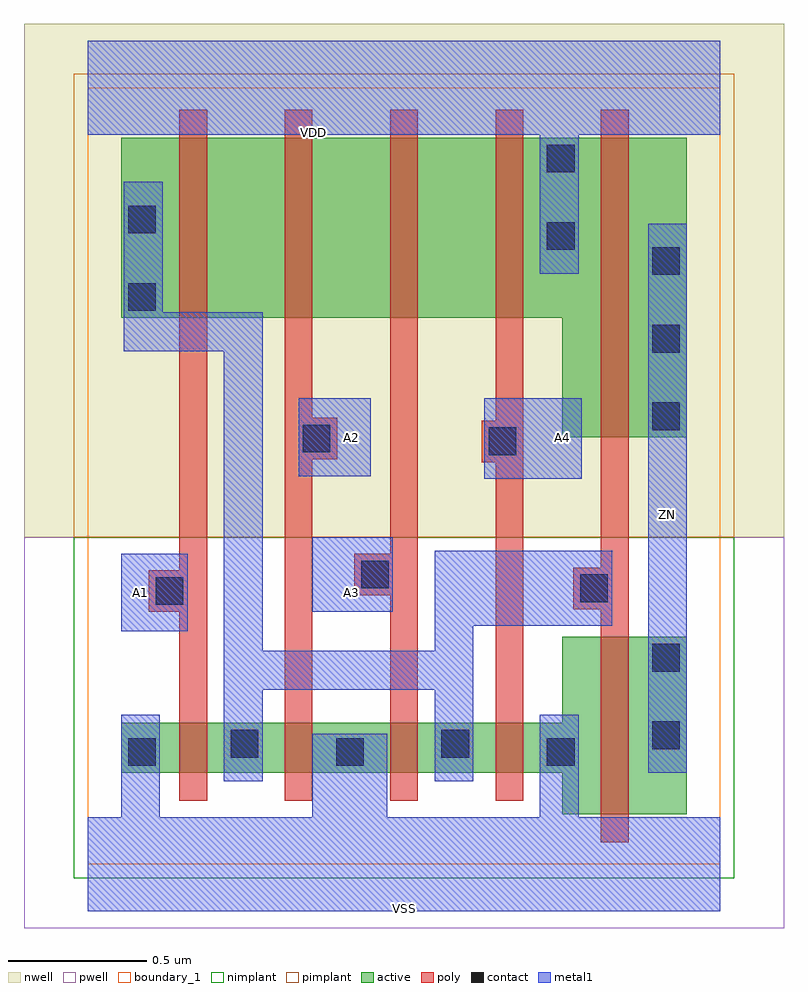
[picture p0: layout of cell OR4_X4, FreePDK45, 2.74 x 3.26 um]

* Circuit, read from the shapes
.subckt OR4_X4 A1 A2 A3 A4 VDD VSS ZN
M1 n1 A1 VSS VSUBS nfet w=0.18u l=0.1u
M2 VSS A2 n1 VSUBS nfet w=0.18u l=0.1u
M3 n1 A3 VSS VSUBS nfet w=0.18u l=0.1u
M4 VSS A4 n1 VSUBS nfet w=0.18u l=0.1u
M5 ZN n1 VSS VSUBS nfet w=0.64u l=0.1u
M6 n2 A1 n1 n3 pfet w=0.65u l=0.1u
M7 n4 A2 n2 n3 pfet w=0.65u l=0.1u
M8 n5 A3 n4 n3 pfet w=0.65u l=0.1u
M9 VDD A4 n5 n3 pfet w=0.65u l=0.1u
M10 ZN n1 VDD n3 pfet w=1.08u l=0.1u
.ends

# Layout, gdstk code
import gdstk
lib = gdstk.Library(unit=1e-6, precision=1e-09)
def R(c, l, rs):  # rectangles x0, y0, x1, y1
    for r in rs: c.add(gdstk.rectangle(r[:2], r[2:], *l))
def A(c, l, x, y, w, h, nx, ny, dx, dy):  # array of equal rectangles
    R(c, l, [(x+i*dx, y+j*dy, x+i*dx+w, y+j*dy+h) for i in range(nx) for j in range(ny)])
def P(c, l, *ps):  # polygons
    for p in ps: c.add(gdstk.Polygon(p, *l))
active = (1, 0)
pwell = (2, 0)
nwell = (3, 0)
nimplant = (4, 0)
pimplant = (5, 0)
poly = (9, 0)
contact = (10, 0)
metal1 = (11, 0)
boundary_1 = (235, 1)

or4_x4 = lib.new_cell('OR4_X4')
P(or4_x4, active, [(0.12,1.97),(1.71,1.97),(1.71,1.54),(2.16,1.54),(2.16,2.62),(0.12,2.62)],
  [(0.12,0.33),(1.71,0.33),(1.71,0.18),(2.16,0.18),(2.16,0.82),(1.71,0.82),(1.71,0.51),(0.12,0.51)])
R(or4_x4, pwell, [(-0.23,-0.23,2.51,1.18)])
R(or4_x4, nwell, [(-0.23,1.18,2.51,3.03)])
R(or4_x4, nimplant, [(-0.05,-0.05,2.33,1.18)])
R(or4_x4, pimplant, [(-0.05,1.18,2.33,2.85)])
P(or4_x4, poly, [(1.75,0.92),(1.85,0.92),(1.85,0.08),(1.95,0.08),(1.95,2.72),(1.85,2.72),(1.85,1.07),(1.75,1.07)],
  [(1.42,1.45),(1.47,1.45),(1.47,0.23),(1.57,0.23),(1.57,2.72),(1.47,2.72),(1.47,1.6),(1.42,1.6)],
  [(0.96,0.97),(1.09,0.97),(1.09,0.23),(1.19,0.23),(1.19,2.72),(1.09,2.72),(1.09,1.12),(0.96,1.12)],
  [(0.71,0.23),(0.81,0.23),(0.81,1.46),(0.9,1.46),(0.9,1.61),(0.81,1.61),(0.81,2.72),(0.71,2.72)],
  [(0.22,0.91),(0.33,0.91),(0.33,0.23),(0.43,0.23),(0.43,2.72),(0.33,2.72),(0.33,1.06),(0.22,1.06)])
A(or4_x4, contact, 2.035, 1.565, 0.1, 0.1, 1, 3, 0, 0.28)
R(or4_x4, contact, [(0.145,0.355,0.245,0.455), (0.895,0.355,0.995,0.455), (1.655,0.355,1.755,0.455), (0.515,0.385,0.615,0.485), (1.275,0.385,1.375,0.485), (2.035,0.415,2.135,0.515), (2.035,0.695,2.135,0.795), (0.245,0.935,0.345,1.035), (1.775,0.945,1.875,1.045), (0.985,0.995,1.085,1.095), (1.445,1.475,1.545,1.575), (0.775,1.485,0.875,1.585), (0.145,1.995,0.245,2.095), (1.655,2.215,1.755,2.315), (0.145,2.275,0.245,2.375), (1.655,2.495,1.755,2.595)])
R(or4_x4, metal1, [(2.02,0.33,2.16,2.31), (2.02,0.33,2.16,2.31), (0.12,0.84,0.36,1.12), (0.12,0.84,0.36,1.12), (0.81,0.91,1.1,1.18), (0.81,0.91,1.1,1.18), (1.43,1.39,1.78,1.68), (1.43,1.39,1.78,1.68), (0.76,1.4,1.02,1.68), (0.76,1.4,1.02,1.68)])
P(or4_x4, metal1, [(0,-0.17),(2.28,-0.17),(2.28,0.17),(1.77,0.17),(1.77,0.54),(1.63,0.54),(1.63,0.17),(1.08,0.17),(1.08,0.47),(0.81,0.47),(0.81,0.17),(0.26,0.17),(0.26,0.54),(0.12,0.54),(0.12,0.17),(0,0.17)],
  [(0,2.63),(1.63,2.63),(1.63,2.13),(1.77,2.13),(1.77,2.63),(2.28,2.63),(2.28,2.97),(0,2.97)],
  [(0,2.63),(1.63,2.63),(1.63,2.13),(1.77,2.13),(1.77,2.63),(2.28,2.63),(2.28,2.97),(0,2.97)],
  [(0,-0.17),(2.28,-0.17),(2.28,0.17),(1.77,0.17),(1.77,0.54),(1.63,0.54),(1.63,0.17),(1.08,0.17),(1.08,0.47),(0.81,0.47),(0.81,0.17),(0.26,0.17),(0.26,0.54),(0.12,0.54),(0.12,0.17),(0,0.17)],
  [(0.13,1.85),(0.49,1.85),(0.49,0.3),(0.63,0.3),(0.63,0.63),(1.25,0.63),(1.25,0.3),(1.39,0.3),(1.39,0.86),(1.89,0.86),(1.89,1.13),(1.25,1.13),(1.25,0.77),(0.63,0.77),(0.63,1.99),(0.27,1.99),(0.27,2.46),(0.13,2.46)])
R(or4_x4, boundary_1, [(0,0,2.28,2.8)])
or4_x4.add(gdstk.Label('ZN', (2.09,1.26), layer=11, texttype=0))
or4_x4.add(gdstk.Label('VSS', (1.14,-0.16), layer=11, texttype=0))
or4_x4.add(gdstk.Label('VDD', (0.815,2.64), layer=11, texttype=0))
or4_x4.add(gdstk.Label('A4', (1.71,1.54), layer=11, texttype=0))
or4_x4.add(gdstk.Label('A3', (0.95,0.98), layer=11, texttype=0))
or4_x4.add(gdstk.Label('A2', (0.95,1.54), layer=11, texttype=0))
or4_x4.add(gdstk.Label('A1', (0.19,0.98), layer=11, texttype=0))

lib.write_gds('OR4_X4.gds')
